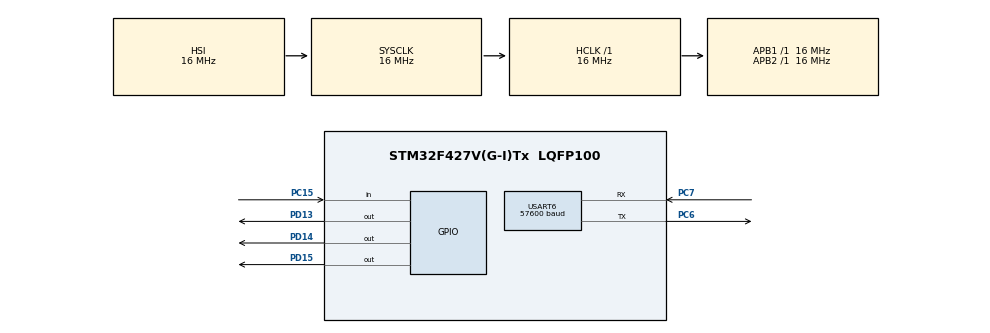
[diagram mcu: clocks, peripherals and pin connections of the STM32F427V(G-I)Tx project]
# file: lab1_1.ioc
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Mcu.Family=STM32F4
Mcu.Name=STM32F427V(G-I)Tx
Mcu.Package=LQFP100
NVIC.PriorityGroup=NVIC_PRIORITYGROUP_4
NVIC.USART6_IRQn=true\:0\:0\:false\:false\:true\:true\:true\:true
PA13.Mode=JTAG_5_pins
PA13.Signal=SYS_JTMS-SWDIO
PA14.Mode=JTAG_5_pins
PA14.Signal=SYS_JTCK-SWCLK
PA15.Mode=JTAG_5_pins
PA15.Signal=SYS_JTDI
PB3.Mode=JTAG_5_pins
PB3.Signal=SYS_JTDO-SWO
PB4.Mode=JTAG_5_pins
PB4.Signal=SYS_JTRST
PC15/OSC32_OUT.Signal=GPIO_Input
PC6.Mode=Asynchronous
PC6.Signal=USART6_TX
PC7.Mode=Asynchronous
PC7.Signal=USART6_RX
PD13.Signal=GPIO_Output
PD14.Signal=GPIO_Output
PD15.Signal=GPIO_Output
ProjectManager.HeapSize=0x200
ProjectManager.StackSize=0x400
ProjectManager.TargetToolchain=STM32CubeIDE
RCC.AHBFreq_Value=16000000
RCC.APB1Freq_Value=16000000
RCC.APB2Freq_Value=16000000
RCC.CortexFreq_Value=16000000
RCC.HSE_VALUE=25000000
RCC.HSI_VALUE=16000000
RCC.LSE_VALUE=32768
RCC.SYSCLKFreq_VALUE=16000000
RCC.VCOOutputFreq_Value=192000000
USART6.BaudRate=57600
USART6.VirtualMode=VM_ASYNC
board=custom

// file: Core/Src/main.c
/* USER CODE BEGIN Header */
/**
  ******************************************************************************
  * @file           : main.c
  * @brief          : Main program body
  ******************************************************************************
  * @attention
  *
  * Copyright (c) 2024 STMicroelectronics.
  * All rights reserved.
  *
  * This software is licensed under terms that can be found in the LICENSE file
  * in the root directory of this software component.
  * If no LICENSE file comes with this software, it is provided AS-IS.
  *
  ******************************************************************************
  */
/* USER CODE END Header */
#include "main.h"
#include "usart.h"
#include "gpio.h"

/* USER CODE BEGIN Includes */
#include "traffic_light.h"
/* USER CODE END Includes */

/* USER CODE BEGIN PV */
  struct mech_data fsm_obj;
  char el;
  char in_buffer_IT[50];
  volatile static int len_in_buf;
  volatile static int send_req;

  char datas[1000];
  volatile static int already_printed;
  volatile static int last_data;
/* USER CODE END PV */

void SystemClock_Config(void);

/* USER CODE BEGIN 0 */
void init_vals_IT(){
	len_in_buf = 0;
	memset(in_buffer_IT, 't', sizeof(in_buffer_IT));
	send_req = 0;
	already_printed = 0;
	last_data = 0;
}

void data_collecter(char* buf, int len){
	for(int i = 0;i < len; i++){
		datas[last_data] = buf[i];
		last_data++;
	}
}

void transend_data_IT(char* buf, int len){
	if(send_req){
		data_collecter(buf, len);
		return;
	}
	send_req = 1;
	HAL_UART_Transmit_IT( &huart6, (uint8_t *) buf, 1);
}

void print_collected_data(){
	if(already_printed < last_data){
		transend_data_IT(&datas[already_printed], 1);
		already_printed++;
	}
	else {
		already_printed = 0;
		last_data       = 0;
	}
}

void HAL_UART_RxCpltCallback(UART_HandleTypeDef *huart) {
  in_buffer_IT[len_in_buf] = el;
  transend_data_IT(&el, 1);
  if(in_buffer_IT[len_in_buf] == '\r'){
	  int local_len = len_in_buf;
	  deshifr(in_buffer_IT, &local_len, &fsm_obj);
	  len_in_buf = 0;
  }
  else{
	  len_in_buf = len_in_buf + 1;
  }
}

void HAL_UART_TxCpltCallback(UART_HandleTypeDef *huart) {
	send_req = 0;
	print_collected_data();
}
/* USER CODE END 0 */

int main(void)
{

  /* MCU Configuration--------------------------------------------------------*/

  /* Reset of all peripherals, Initializes the Flash interface and the Systick. */
  HAL_Init();

  /* Configure the system clock */
  SystemClock_Config();

  /* Initialize all configured peripherals */
  MX_GPIO_Init();
  MX_USART6_UART_Init();
  /* USER CODE BEGIN 2 */
  fsm_obj.button_cnt = 0;
  fsm_obj.button_pressed_flag = 0;
  fsm_obj.red_time = 6000;
  fsm_obj.other_time = fsm_obj.red_time / 4;
  fsm_obj.current_red = fsm_obj.red_time;
  fsm_obj.start_time = 0;
  fsm_obj.wait_time = 0;
  fsm_obj.state = RED;
  fsm_obj.fsm_flag = 0;
  fsm_obj.interupt_enable = 0;
  fsm_obj.work_mode = 1;

  char in_buffer[50];
  int  in_curlen = 0;
  int first_iter = -1;
  /* USER CODE END 2 */

  /* Infinite loop */
  while (1)
  {
	  nextStateMachine(&fsm_obj.state, fsm_obj.red_time, fsm_obj.other_time, &fsm_obj.current_red, &fsm_obj.fsm_flag, &fsm_obj.wait_time, &fsm_obj.button_pressed_flag, &fsm_obj.start_time);
	  if(fsm_obj.work_mode)
		  check_button(&fsm_obj.button_cnt, fsm_obj.other_time, &fsm_obj.current_red, &fsm_obj.button_pressed_flag);
	  if(!fsm_obj.interupt_enable) {
		first_iter = 0;
        if(HAL_OK == HAL_UART_Receive( &huart6, (uint8_t *) &in_buffer[in_curlen], 1, 10 )){
        	HAL_UART_Transmit( &huart6, (uint8_t *) &in_buffer[in_curlen], 1, 10 );
        	if(in_buffer[in_curlen] == '\r') {
        		in_buffer[in_curlen] = '\0';
        		deshifr(in_buffer, &in_curlen, &fsm_obj);
        		in_curlen = 0;
        	}
        	else {
        		in_curlen++;
        	}
        }
	  }
	  else{
		  if(first_iter == 0){
			  init_vals_IT();
			  first_iter = 1;
		  }
		  else
			  HAL_UART_Receive_IT( &huart6, (uint8_t *) &el, 1);
		  // запустить функцию считывания
		  // запустить функцию отправки данных.

	  }
  }
}

void SystemClock_Config(void)
{
  RCC_OscInitTypeDef RCC_OscInitStruct = {0};
  RCC_ClkInitTypeDef RCC_ClkInitStruct = {0};

  /** Configure the main internal regulator output voltage
  */
  __HAL_RCC_PWR_CLK_ENABLE();
  __HAL_PWR_VOLTAGESCALING_CONFIG(PWR_REGULATOR_VOLTAGE_SCALE3);

  /** Initializes the RCC Oscillators according to the specified parameters
  * in the RCC_OscInitTypeDef structure.
  */
  RCC_OscInitStruct.OscillatorType = RCC_OSCILLATORTYPE_HSI;
  RCC_OscInitStruct.HSIState = RCC_HSI_ON;
  RCC_OscInitStruct.HSICalibrationValue = RCC_HSICALIBRATION_DEFAULT;
  RCC_OscInitStruct.PLL.PLLState = RCC_PLL_NONE;
  if (HAL_RCC_OscConfig(&RCC_OscInitStruct) != HAL_OK)
  {
    Error_Handler();
  }

  /** Initializes the CPU, AHB and APB buses clocks
  */
  RCC_ClkInitStruct.ClockType = RCC_CLOCKTYPE_HCLK|RCC_CLOCKTYPE_SYSCLK
                              |RCC_CLOCKTYPE_PCLK1|RCC_CLOCKTYPE_PCLK2;
  RCC_ClkInitStruct.SYSCLKSource = RCC_SYSCLKSOURCE_HSI;
  RCC_ClkInitStruct.AHBCLKDivider = RCC_SYSCLK_DIV1;
  RCC_ClkInitStruct.APB1CLKDivider = RCC_HCLK_DIV1;
  RCC_ClkInitStruct.APB2CLKDivider = RCC_HCLK_DIV1;

  if (HAL_RCC_ClockConfig(&RCC_ClkInitStruct, FLASH_LATENCY_0) != HAL_OK)
  {
    Error_Handler();
  }
}

void Error_Handler(void)
{
  __disable_irq();
  while (1)
  {
  }
}
